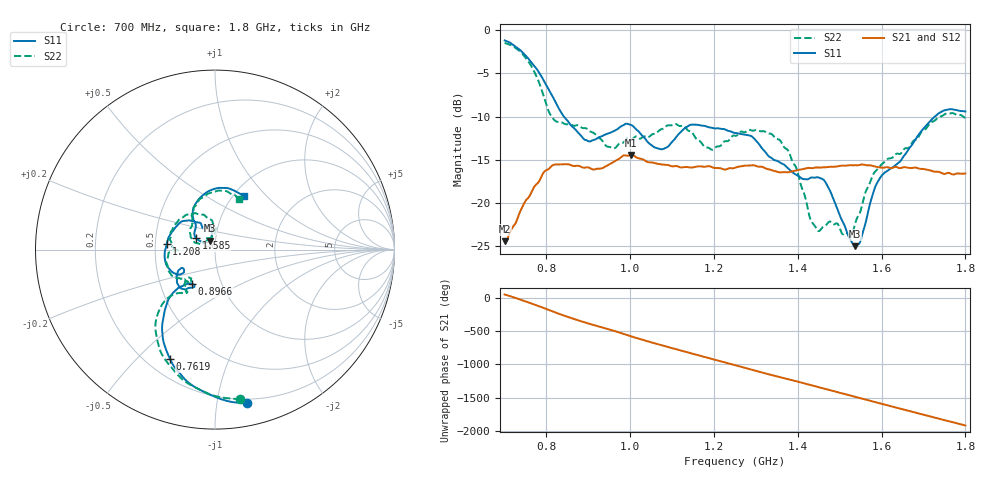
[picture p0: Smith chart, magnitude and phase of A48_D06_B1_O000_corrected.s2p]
! Created with skrf 1.9.0 (http://scikit-rf.org).
# Hz S RI R 50.0
!freq ReS11 ImS11 ReS21 ImS21 ReS12 ImS12 ReS22 ImS22
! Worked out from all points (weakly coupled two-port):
!   1601 points, 700 MHz to 1.8 GHz, reference 50 ohm
!   highest |S21| = -14.41 dB at 1.002 GHz (marker M1); lowest = -24.4 dB at 700.7 MHz (marker M2)
!   lowest |S11| = -25.0 dB at 1.536 GHz (marker M3), VSWR 1.12, Z = 47.2 + j4.7 ohm
!   |S11| at or under -10 dB: 841.6 MHz to 1.727 GHz (885.2 MHz wide, 68.9 % of centre)
!   |S22| runs from -23.8 to -1.5 dB; largest |S21 - S12| = 0.0035
!   S11 on the Smith chart (normalised r, x): 700 MHz: 0.17, -1.21; 761.9 MHz: 0.29, -0.63; 896.6 MHz: 0.72, -0.29; 1.208 GHz: 0.58, +0.04; 1.585 GHz: 0.80, +0.10; 1.8 GHz: 1.11, +0.75
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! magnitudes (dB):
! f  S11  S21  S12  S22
! 700 MHz  -1.2  -24.4  -24.2  -1.5
! 700.7 MHz  -1.2  -24.4  -24.1  -1.5
! 761.9 MHz  -3.6  -19.0  -18.9  -4.0
! 815.5 MHz  -7.8  -15.6  -15.7  -10.2
! 883.6 MHz  -12.3  -15.8  -15.7  -11.3
! 896.6 MHz  -12.8  -15.9  -15.9  -11.4
! 957.8 MHz  -11.7  -15.3  -15.3  -13.6
! 1.002 GHz  -11.0  -14.4  -14.5  -12.6
! 1.067 GHz  -13.7  -15.5  -15.4  -11.7
! 1.143 GHz  -11.0  -15.9  -15.9  -11.7
! 1.208 GHz  -11.3  -15.9  -16.0  -13.4
! 1.25 GHz  -11.9  -15.9  -15.8  -12.2
! 1.358 GHz  -15.3  -16.4  -16.4  -12.8
! 1.396 GHz  -16.7  -16.2  -16.2  -15.9
! 1.434 GHz  -17.0  -16.0  -15.9  -22.2
! 1.467 GHz  -17.6  -15.9  -15.8  -22.6
! 1.536 GHz  -25.0  -15.6  -15.6  -22.5
! 1.55 GHz  -24.2  -15.5  -15.6  -20.8
! 1.585 GHz  -18.1  -15.8  -15.8  -16.3
! 1.617 GHz  -16.1  -15.9  -15.8  -14.8
! 1.733 GHz  -9.7  -16.4  -16.4  -10.2
! 1.8 GHz  -9.4  -16.6  -16.6  -10.1
